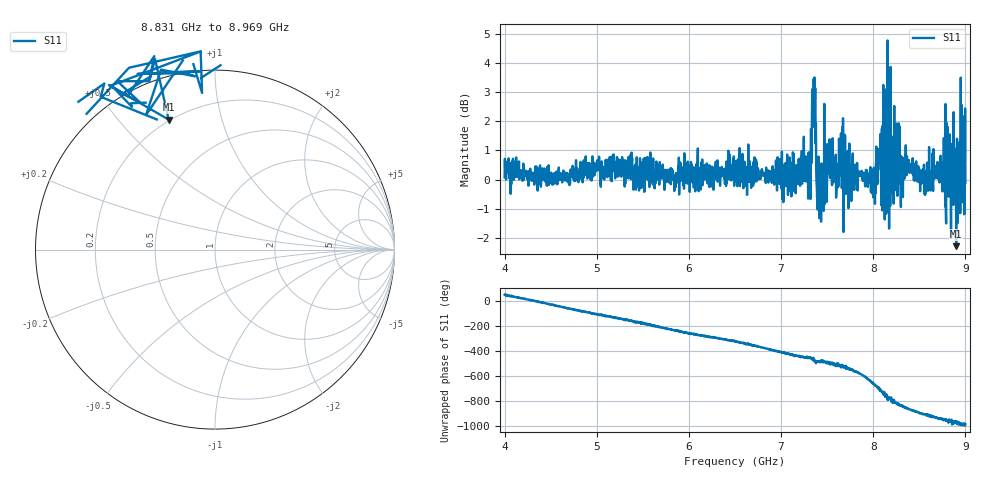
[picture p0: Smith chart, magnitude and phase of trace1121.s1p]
! Created with skrf 1.8.0 (http://scikit-rf.org).
# Hz S RI R 50.0
!freq ReS11 ImS11
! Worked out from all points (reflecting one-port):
!   1601 points, 4 GHz to 9 GHz, reference 50 ohm
!   lowest |S11| = -2.3 dB at 8.9 GHz (marker M1), VSWR 7.65, Z = 9.7 + j34.4 ohm
!   phase of S11 starts at 52 deg and turns -1037 deg over the sweep
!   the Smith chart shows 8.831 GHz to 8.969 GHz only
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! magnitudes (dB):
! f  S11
! 4 GHz  0.1
! 4.625 GHz  -0.1
! 5.25 GHz  0.1
! 5.875 GHz  0.1
! 6.5 GHz  0.2
! 7.125 GHz  0.3
! 7.294 GHz  -0.7
! 7.353 GHz  3.4
! 7.409 GHz  -0.8
! 7.525 GHz  1.4
! 7.591 GHz  0.8
! 7.65 GHz  1.6
! 7.75 GHz  0.2
! 8 GHz  -0.6
! 8.097 GHz  -1.1
! 8.134 GHz  0.1
! 8.15 GHz  -1.1
! 8.178 GHz  3.6
! 8.216 GHz  1.1
! 8.262 GHz  -0.6
! 8.375 GHz  0.6
! 8.578 GHz  -0.2
! 8.656 GHz  0.3
! 8.766 GHz  1.4
! 8.834 GHz  1.0
! 8.9 GHz  -2.3
! 8.972 GHz  0.7
! 9 GHz  -0.1
